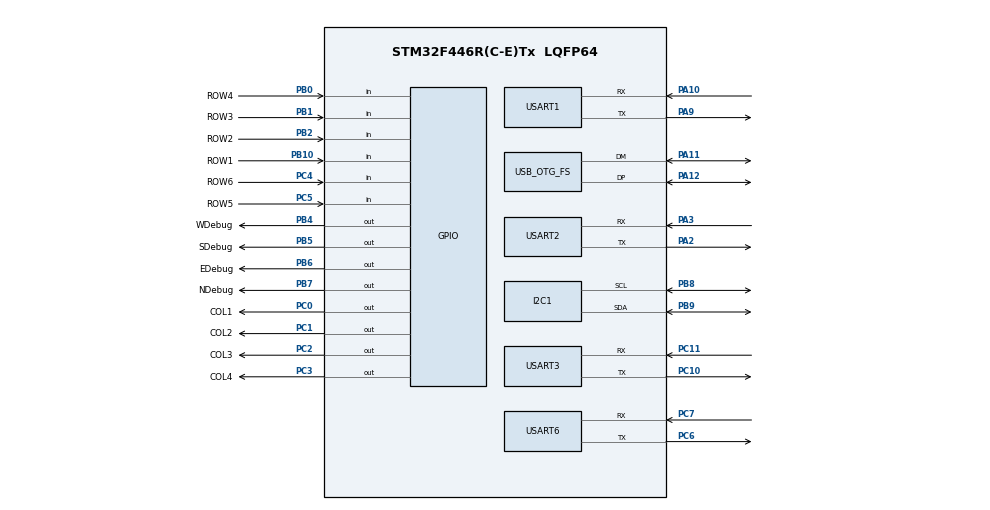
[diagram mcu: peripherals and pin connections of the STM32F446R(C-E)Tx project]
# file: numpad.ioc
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Dma.Request0=USART2_RX
Dma.Request1=USART1_RX
Dma.Request2=USART3_RX
Dma.Request3=USART1_TX
Dma.Request4=USART2_TX
Dma.Request5=USART3_TX
Dma.Request6=USART6_RX
Dma.Request7=USART6_TX
Dma.USART1_RX.1.Direction=DMA_PERIPH_TO_MEMORY
Dma.USART1_RX.1.FIFOMode=DMA_FIFOMODE_DISABLE
Dma.USART1_RX.1.Instance=DMA2_Stream2
Dma.USART1_RX.1.MemDataAlignment=DMA_MDATAALIGN_BYTE
Dma.USART1_RX.1.MemInc=DMA_MINC_ENABLE
Dma.USART1_RX.1.Mode=DMA_NORMAL
Dma.USART1_RX.1.PeriphDataAlignment=DMA_PDATAALIGN_BYTE
Dma.USART1_RX.1.PeriphInc=DMA_PINC_DISABLE
Dma.USART1_RX.1.Priority=DMA_PRIORITY_LOW
Dma.USART1_TX.3.Direction=DMA_MEMORY_TO_PERIPH
Dma.USART1_TX.3.FIFOMode=DMA_FIFOMODE_DISABLE
Dma.USART1_TX.3.Instance=DMA2_Stream7
Dma.USART1_TX.3.MemDataAlignment=DMA_MDATAALIGN_BYTE
Dma.USART1_TX.3.MemInc=DMA_MINC_ENABLE
Dma.USART1_TX.3.Mode=DMA_NORMAL
Dma.USART1_TX.3.PeriphDataAlignment=DMA_PDATAALIGN_BYTE
Dma.USART1_TX.3.PeriphInc=DMA_PINC_DISABLE
Dma.USART1_TX.3.Priority=DMA_PRIORITY_LOW
Dma.USART2_RX.0.Direction=DMA_PERIPH_TO_MEMORY
Dma.USART2_RX.0.FIFOMode=DMA_FIFOMODE_DISABLE
Dma.USART2_RX.0.Instance=DMA1_Stream5
Dma.USART2_RX.0.MemDataAlignment=DMA_MDATAALIGN_BYTE
Dma.USART2_RX.0.MemInc=DMA_MINC_ENABLE
Dma.USART2_RX.0.Mode=DMA_NORMAL
Dma.USART2_RX.0.PeriphDataAlignment=DMA_PDATAALIGN_BYTE
Dma.USART2_RX.0.PeriphInc=DMA_PINC_DISABLE
Dma.USART2_RX.0.Priority=DMA_PRIORITY_LOW
Dma.USART2_TX.4.Direction=DMA_MEMORY_TO_PERIPH
Dma.USART2_TX.4.FIFOMode=DMA_FIFOMODE_DISABLE
Dma.USART2_TX.4.Instance=DMA1_Stream6
Dma.USART2_TX.4.MemDataAlignment=DMA_MDATAALIGN_BYTE
Dma.USART2_TX.4.MemInc=DMA_MINC_ENABLE
Dma.USART2_TX.4.Mode=DMA_NORMAL
Dma.USART2_TX.4.PeriphDataAlignment=DMA_PDATAALIGN_BYTE
Dma.USART2_TX.4.PeriphInc=DMA_PINC_DISABLE
Dma.USART2_TX.4.Priority=DMA_PRIORITY_LOW
Dma.USART3_RX.2.Direction=DMA_PERIPH_TO_MEMORY
Dma.USART3_RX.2.FIFOMode=DMA_FIFOMODE_DISABLE
Dma.USART3_RX.2.Instance=DMA1_Stream1
Dma.USART3_RX.2.MemDataAlignment=DMA_MDATAALIGN_BYTE
Dma.USART3_RX.2.MemInc=DMA_MINC_ENABLE
Dma.USART3_RX.2.Mode=DMA_NORMAL
Dma.USART3_RX.2.PeriphDataAlignment=DMA_PDATAALIGN_BYTE
Dma.USART3_RX.2.PeriphInc=DMA_PINC_DISABLE
Dma.USART3_RX.2.Priority=DMA_PRIORITY_LOW
Dma.USART3_TX.5.Direction=DMA_MEMORY_TO_PERIPH
Dma.USART3_TX.5.FIFOMode=DMA_FIFOMODE_DISABLE
Dma.USART3_TX.5.Instance=DMA1_Stream3
Dma.USART3_TX.5.MemDataAlignment=DMA_MDATAALIGN_BYTE
Dma.USART3_TX.5.MemInc=DMA_MINC_ENABLE
Dma.USART3_TX.5.Mode=DMA_NORMAL
Dma.USART3_TX.5.PeriphDataAlignment=DMA_PDATAALIGN_BYTE
Dma.USART3_TX.5.PeriphInc=DMA_PINC_DISABLE
Dma.USART3_TX.5.Priority=DMA_PRIORITY_LOW
Dma.USART6_RX.6.Direction=DMA_PERIPH_TO_MEMORY
Dma.USART6_RX.6.FIFOMode=DMA_FIFOMODE_DISABLE
Dma.USART6_RX.6.Instance=DMA2_Stream1
Dma.USART6_RX.6.MemDataAlignment=DMA_MDATAALIGN_BYTE
Dma.USART6_RX.6.MemInc=DMA_MINC_ENABLE
Dma.USART6_RX.6.Mode=DMA_NORMAL
Dma.USART6_RX.6.PeriphDataAlignment=DMA_PDATAALIGN_BYTE
Dma.USART6_RX.6.PeriphInc=DMA_PINC_DISABLE
Dma.USART6_RX.6.Priority=DMA_PRIORITY_LOW
Dma.USART6_TX.7.Direction=DMA_MEMORY_TO_PERIPH
Dma.USART6_TX.7.FIFOMode=DMA_FIFOMODE_DISABLE
Dma.USART6_TX.7.Instance=DMA2_Stream6
Dma.USART6_TX.7.MemDataAlignment=DMA_MDATAALIGN_BYTE
Dma.USART6_TX.7.MemInc=DMA_MINC_ENABLE
Dma.USART6_TX.7.Mode=DMA_NORMAL
Dma.USART6_TX.7.PeriphDataAlignment=DMA_PDATAALIGN_BYTE
Dma.USART6_TX.7.PeriphInc=DMA_PINC_DISABLE
Dma.USART6_TX.7.Priority=DMA_PRIORITY_LOW
Mcu.Family=STM32F4
Mcu.Name=STM32F446R(C-E)Tx
Mcu.Package=LQFP64
NVIC.DMA1_Stream1_IRQn=true\:0\:0\:false\:false\:true\:false\:true\:true
NVIC.DMA1_Stream3_IRQn=true\:0\:0\:false\:false\:true\:false\:true\:true
NVIC.DMA1_Stream5_IRQn=true\:0\:0\:false\:false\:true\:false\:true\:true
NVIC.DMA1_Stream6_IRQn=true\:0\:0\:false\:false\:true\:false\:true\:true
NVIC.DMA2_Stream1_IRQn=true\:0\:0\:false\:false\:true\:false\:true\:true
NVIC.DMA2_Stream2_IRQn=true\:0\:0\:false\:false\:true\:false\:true\:true
NVIC.DMA2_Stream6_IRQn=true\:0\:0\:false\:false\:true\:false\:true\:true
NVIC.DMA2_Stream7_IRQn=true\:0\:0\:false\:false\:true\:false\:true\:true
NVIC.I2C1_EV_IRQn=true\:0\:0\:false\:false\:true\:true\:true\:true
NVIC.OTG_FS_IRQn=true\:0\:0\:false\:false\:true\:false\:true\:true
NVIC.PriorityGroup=NVIC_PRIORITYGROUP_4
NVIC.USART1_IRQn=true\:0\:0\:false\:false\:true\:true\:true\:true
NVIC.USART2_IRQn=true\:0\:0\:false\:false\:true\:true\:true\:true
NVIC.USART3_IRQn=true\:0\:0\:false\:false\:true\:true\:true\:true
NVIC.USART6_IRQn=true\:0\:0\:false\:false\:true\:true\:true\:true
PA10.Mode=Asynchronous
PA10.Signal=USART1_RX
PA11.Mode=Device_Only
PA11.Signal=USB_OTG_FS_DM
PA12.Mode=Device_Only
PA12.Signal=USB_OTG_FS_DP
PA13.Mode=Serial_Wire
PA13.Signal=SYS_JTMS-SWDIO
PA14.Mode=Serial_Wire
PA14.Signal=SYS_JTCK-SWCLK
PA2.Mode=Asynchronous
PA2.Signal=USART2_TX
PA3.Mode=Asynchronous
PA3.Signal=USART2_RX
PA9.Mode=Asynchronous
PA9.Signal=USART1_TX
PB0.GPIO_Label=ROW4
PB0.GPIO_PuPd=GPIO_PULLDOWN
PB0.Signal=GPIO_Input
PB1.GPIO_Label=ROW3
PB1.GPIO_PuPd=GPIO_PULLDOWN
PB1.Signal=GPIO_Input
PB10.GPIO_Label=ROW1
PB10.GPIO_PuPd=GPIO_PULLDOWN
PB10.Signal=GPIO_Input
PB2.GPIO_Label=ROW2
PB2.GPIO_PuPd=GPIO_PULLDOWN
PB2.Signal=GPIO_Input
PB4.GPIO_Label=WDebug
PB4.Signal=GPIO_Output
PB5.GPIO_Label=SDebug
PB5.Signal=GPIO_Output
PB6.GPIO_Label=EDebug
PB6.Signal=GPIO_Output
PB7.GPIO_Label=NDebug
PB7.Signal=GPIO_Output
PB8.Mode=I2C
PB8.Signal=I2C1_SCL
PB9.Mode=I2C
PB9.Signal=I2C1_SDA
PC0.GPIO_Label=COL1
PC0.Signal=GPIO_Output
PC1.GPIO_Label=COL2
PC1.Signal=GPIO_Output
PC10.Mode=Asynchronous
PC10.Signal=USART3_TX
PC11.Mode=Asynchronous
PC11.Signal=USART3_RX
PC2.GPIO_Label=COL3
PC2.Signal=GPIO_Output
PC3.GPIO_Label=COL4
PC3.Signal=GPIO_Output
PC4.GPIO_Label=ROW6
PC4.GPIO_PuPd=GPIO_PULLDOWN
PC4.Signal=GPIO_Input
PC5.GPIO_Label=ROW5
PC5.GPIO_PuPd=GPIO_PULLDOWN
PC5.Signal=GPIO_Input
PC6.Mode=Asynchronous
PC6.Signal=USART6_TX
PC7.Mode=Asynchronous
PC7.Signal=USART6_RX
PH0-OSC_IN.Mode=HSE-External-Oscillator
PH0-OSC_IN.Signal=RCC_OSC_IN
PH1-OSC_OUT.Mode=HSE-External-Oscillator
PH1-OSC_OUT.Signal=RCC_OSC_OUT
ProjectManager.HeapSize=0x200
ProjectManager.StackSize=0x400
ProjectManager.TargetToolchain=STM32CubeIDE
RCC.CortexFreq_Value=16000000
RCC.HSE_VALUE=8000000
RCC.PLLM=4
RCC.PLLN=72
RCC.PLLQ=3
RCC.USBFreq_Value=48000000
RCC.VCOOutputFreq_Value=144000000
USART1.VirtualMode=VM_ASYNC
USART2.VirtualMode=VM_ASYNC
USART3.VirtualMode=VM_ASYNC
USART6.VirtualMode=VM_ASYNC
USB_DEVICE.CLASS_NAME_FS=HID
USB_DEVICE.VirtualMode-HID_FS=Hid
USB_DEVICE.VirtualModeFS=Hid_FS
USB_OTG_FS.VirtualMode=Device_Only
VP_USB_DEVICE_VS_USB_DEVICE_HID_FS.Mode=HID_FS
board=custom

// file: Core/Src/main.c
/* USER CODE BEGIN Header */
/**
  ******************************************************************************
  * @file           : main.c
  * @brief          : Main program body
  ******************************************************************************
  * @attention
  *
  * Copyright (c) 2025 STMicroelectronics.
  * All rights reserved.
  *
  * This software is licensed under terms that can be found in the LICENSE file
  * in the root directory of this software component.
  * If no LICENSE file comes with this software, it is provided AS-IS.
  *
  ******************************************************************************
  */
/* USER CODE END Header */
#include "main.h"
#include "usb_device.h"
#include <stdbool.h>
#include <stdint.h>

/* USER CODE BEGIN PD */
#define INACTIVE 	0x00
#define ACTIVE 		0x01
#define MASTER 		0x02
uint8_t MODE = INACTIVE;

#define PACKET_SIZE 4
#define DMA_QBUFFER_SIZE 64

static uint8_t DMA_QBUFFER[DMA_QBUFFER_SIZE][PACKET_SIZE];
volatile uint16_t q_head = 0;
volatile uint16_t q_tail = 0;

UART_HandleTypeDef PARENT;          // your parent UART
static bool PARENT_BUSY = false;
/* USER CODE END PD */

I2C_HandleTypeDef hi2c1;

UART_HandleTypeDef huart1;
UART_HandleTypeDef huart2;
UART_HandleTypeDef huart3;
UART_HandleTypeDef huart6;
DMA_HandleTypeDef hdma_usart1_rx;
DMA_HandleTypeDef hdma_usart1_tx;
DMA_HandleTypeDef hdma_usart2_rx;
DMA_HandleTypeDef hdma_usart2_tx;
DMA_HandleTypeDef hdma_usart3_rx;
DMA_HandleTypeDef hdma_usart3_tx;
DMA_HandleTypeDef hdma_usart6_rx;
DMA_HandleTypeDef hdma_usart6_tx;

void SystemClock_Config(void);
static void MX_GPIO_Init(void);
static void MX_DMA_Init(void);
static void MX_I2C1_Init(void);
static void MX_USART1_UART_Init(void);
static void MX_USART2_UART_Init(void);
static void MX_USART3_UART_Init(void);
static void MX_USART6_UART_Init(void);

//UART Forwarder Functions
bool DMA_BufferPush(uint8_t *packet);
bool DMA_BufferPop(uint8_t *packet);
void DMA_TrySend(void);

int main(void)
{

  /* MCU Configuration--------------------------------------------------------*/

  /* Reset of all peripherals, Initializes the Flash interface and the Systick. */
  HAL_Init();

  /* Configure the system clock */
  SystemClock_Config();

  /* Initialize all configured peripherals */
  MX_GPIO_Init();
  MX_DMA_Init();
  MX_I2C1_Init();
  MX_USART1_UART_Init();
  MX_USART2_UART_Init();
  MX_USB_DEVICE_Init();
  MX_USART3_UART_Init();
  MX_USART6_UART_Init();

  /* Infinite loop */
  while (1)
  {

  }
}

void SystemClock_Config(void)
{
  RCC_OscInitTypeDef RCC_OscInitStruct = {0};
  RCC_ClkInitTypeDef RCC_ClkInitStruct = {0};

  /** Configure the main internal regulator output voltage
  */
  __HAL_RCC_PWR_CLK_ENABLE();
  __HAL_PWR_VOLTAGESCALING_CONFIG(PWR_REGULATOR_VOLTAGE_SCALE3);

  /** Initializes the RCC Oscillators according to the specified parameters
  * in the RCC_OscInitTypeDef structure.
  */
  RCC_OscInitStruct.OscillatorType = RCC_OSCILLATORTYPE_HSI;
  RCC_OscInitStruct.HSIState = RCC_HSI_ON;
  RCC_OscInitStruct.HSICalibrationValue = RCC_HSICALIBRATION_DEFAULT;
  RCC_OscInitStruct.PLL.PLLState = RCC_PLL_ON;
  RCC_OscInitStruct.PLL.PLLSource = RCC_PLLSOURCE_HSE;
  RCC_OscInitStruct.PLL.PLLM = 4;
  RCC_OscInitStruct.PLL.PLLN = 72;
  RCC_OscInitStruct.PLL.PLLP = RCC_PLLP_DIV2;
  RCC_OscInitStruct.PLL.PLLQ = 3;
  RCC_OscInitStruct.PLL.PLLR = 2;
  if (HAL_RCC_OscConfig(&RCC_OscInitStruct) != HAL_OK)
  {
    Error_Handler();
  }

  /** Initializes the CPU, AHB and APB buses clocks
  */
  RCC_ClkInitStruct.ClockType = RCC_CLOCKTYPE_HCLK|RCC_CLOCKTYPE_SYSCLK
                              |RCC_CLOCKTYPE_PCLK1|RCC_CLOCKTYPE_PCLK2;
  RCC_ClkInitStruct.SYSCLKSource = RCC_SYSCLKSOURCE_HSI;
  RCC_ClkInitStruct.AHBCLKDivider = RCC_SYSCLK_DIV1;
  RCC_ClkInitStruct.APB1CLKDivider = RCC_HCLK_DIV1;
  RCC_ClkInitStruct.APB2CLKDivider = RCC_HCLK_DIV1;

  if (HAL_RCC_ClockConfig(&RCC_ClkInitStruct, FLASH_LATENCY_0) != HAL_OK)
  {
    Error_Handler();
  }
}

static void MX_I2C1_Init(void)
{

  hi2c1.Instance = I2C1;
  hi2c1.Init.ClockSpeed = 100000;
  hi2c1.Init.DutyCycle = I2C_DUTYCYCLE_2;
  hi2c1.Init.OwnAddress1 = 0;
  hi2c1.Init.AddressingMode = I2C_ADDRESSINGMODE_7BIT;
  hi2c1.Init.DualAddressMode = I2C_DUALADDRESS_DISABLE;
  hi2c1.Init.OwnAddress2 = 0;
  hi2c1.Init.GeneralCallMode = I2C_GENERALCALL_DISABLE;
  hi2c1.Init.NoStretchMode = I2C_NOSTRETCH_DISABLE;
  if (HAL_I2C_Init(&hi2c1) != HAL_OK)
  {
    Error_Handler();
  }

}

static void MX_USART1_UART_Init(void)
{

  huart1.Instance = USART1;
  huart1.Init.BaudRate = 115200;
  huart1.Init.WordLength = UART_WORDLENGTH_8B;
  huart1.Init.StopBits = UART_STOPBITS_1;
  huart1.Init.Parity = UART_PARITY_NONE;
  huart1.Init.Mode = UART_MODE_TX_RX;
  huart1.Init.HwFlowCtl = UART_HWCONTROL_NONE;
  huart1.Init.OverSampling = UART_OVERSAMPLING_16;
  if (HAL_UART_Init(&huart1) != HAL_OK)
  {
    Error_Handler();
  }

}

static void MX_USART2_UART_Init(void)
{

  huart2.Instance = USART2;
  huart2.Init.BaudRate = 115200;
  huart2.Init.WordLength = UART_WORDLENGTH_8B;
  huart2.Init.StopBits = UART_STOPBITS_1;
  huart2.Init.Parity = UART_PARITY_NONE;
  huart2.Init.Mode = UART_MODE_TX_RX;
  huart2.Init.HwFlowCtl = UART_HWCONTROL_NONE;
  huart2.Init.OverSampling = UART_OVERSAMPLING_16;
  if (HAL_UART_Init(&huart2) != HAL_OK)
  {
    Error_Handler();
  }

}

static void MX_USART3_UART_Init(void)
{

  huart3.Instance = USART3;
  huart3.Init.BaudRate = 115200;
  huart3.Init.WordLength = UART_WORDLENGTH_8B;
  huart3.Init.StopBits = UART_STOPBITS_1;
  huart3.Init.Parity = UART_PARITY_NONE;
  huart3.Init.Mode = UART_MODE_TX_RX;
  huart3.Init.HwFlowCtl = UART_HWCONTROL_NONE;
  huart3.Init.OverSampling = UART_OVERSAMPLING_16;
  if (HAL_UART_Init(&huart3) != HAL_OK)
  {
    Error_Handler();
  }

}

static void MX_USART6_UART_Init(void)
{

  huart6.Instance = USART6;
  huart6.Init.BaudRate = 115200;
  huart6.Init.WordLength = UART_WORDLENGTH_8B;
  huart6.Init.StopBits = UART_STOPBITS_1;
  huart6.Init.Parity = UART_PARITY_NONE;
  huart6.Init.Mode = UART_MODE_TX_RX;
  huart6.Init.HwFlowCtl = UART_HWCONTROL_NONE;
  huart6.Init.OverSampling = UART_OVERSAMPLING_16;
  if (HAL_UART_Init(&huart6) != HAL_OK)
  {
    Error_Handler();
  }

}

static void MX_DMA_Init(void)
{

  /* DMA controller clock enable */
  __HAL_RCC_DMA1_CLK_ENABLE();
  __HAL_RCC_DMA2_CLK_ENABLE();

  /* DMA interrupt init */
  /* DMA1_Stream1_IRQn interrupt configuration */
  HAL_NVIC_SetPriority(DMA1_Stream1_IRQn, 0, 0);
  HAL_NVIC_EnableIRQ(DMA1_Stream1_IRQn);
  /* DMA1_Stream3_IRQn interrupt configuration */
  HAL_NVIC_SetPriority(DMA1_Stream3_IRQn, 0, 0);
  HAL_NVIC_EnableIRQ(DMA1_Stream3_IRQn);
  /* DMA1_Stream5_IRQn interrupt configuration */
  HAL_NVIC_SetPriority(DMA1_Stream5_IRQn, 0, 0);
  HAL_NVIC_EnableIRQ(DMA1_Stream5_IRQn);
  /* DMA1_Stream6_IRQn interrupt configuration */
  HAL_NVIC_SetPriority(DMA1_Stream6_IRQn, 0, 0);
  HAL_NVIC_EnableIRQ(DMA1_Stream6_IRQn);
  /* DMA2_Stream1_IRQn interrupt configuration */
  HAL_NVIC_SetPriority(DMA2_Stream1_IRQn, 0, 0);
  HAL_NVIC_EnableIRQ(DMA2_Stream1_IRQn);
  /* DMA2_Stream2_IRQn interrupt configuration */
  HAL_NVIC_SetPriority(DMA2_Stream2_IRQn, 0, 0);
  HAL_NVIC_EnableIRQ(DMA2_Stream2_IRQn);
  /* DMA2_Stream6_IRQn interrupt configuration */
  HAL_NVIC_SetPriority(DMA2_Stream6_IRQn, 0, 0);
  HAL_NVIC_EnableIRQ(DMA2_Stream6_IRQn);
  /* DMA2_Stream7_IRQn interrupt configuration */
  HAL_NVIC_SetPriority(DMA2_Stream7_IRQn, 0, 0);
  HAL_NVIC_EnableIRQ(DMA2_Stream7_IRQn);

}

static void MX_GPIO_Init(void)
{
  GPIO_InitTypeDef GPIO_InitStruct = {0};

  /* GPIO Ports Clock Enable */
  __HAL_RCC_GPIOH_CLK_ENABLE();
  __HAL_RCC_GPIOC_CLK_ENABLE();
  __HAL_RCC_GPIOA_CLK_ENABLE();
  __HAL_RCC_GPIOB_CLK_ENABLE();

  /*Configure GPIO pin Output Level */
  HAL_GPIO_WritePin(GPIOC, COL1_Pin|COL2_Pin|COL3_Pin|COL4_Pin, GPIO_PIN_RESET);

  /*Configure GPIO pin Output Level */
  HAL_GPIO_WritePin(GPIOB, WDebug_Pin|SDebug_Pin|EDebug_Pin|NDebug_Pin, GPIO_PIN_RESET);

  /*Configure GPIO pins : COL1_Pin COL2_Pin COL3_Pin COL4_Pin */
  GPIO_InitStruct.Pin = COL1_Pin|COL2_Pin|COL3_Pin|COL4_Pin;
  GPIO_InitStruct.Mode = GPIO_MODE_OUTPUT_PP;
  GPIO_InitStruct.Pull = GPIO_NOPULL;
  GPIO_InitStruct.Speed = GPIO_SPEED_FREQ_LOW;
  HAL_GPIO_Init(GPIOC, &GPIO_InitStruct);

  /*Configure GPIO pins : ROW6_Pin ROW5_Pin */
  GPIO_InitStruct.Pin = ROW6_Pin|ROW5_Pin;
  GPIO_InitStruct.Mode = GPIO_MODE_INPUT;
  GPIO_InitStruct.Pull = GPIO_PULLDOWN;
  HAL_GPIO_Init(GPIOC, &GPIO_InitStruct);

  /*Configure GPIO pins : ROW4_Pin ROW3_Pin ROW2_Pin ROW1_Pin */
  GPIO_InitStruct.Pin = ROW4_Pin|ROW3_Pin|ROW2_Pin|ROW1_Pin;
  GPIO_InitStruct.Mode = GPIO_MODE_INPUT;
  GPIO_InitStruct.Pull = GPIO_PULLDOWN;
  HAL_GPIO_Init(GPIOB, &GPIO_InitStruct);

  /*Configure GPIO pins : WDebug_Pin SDebug_Pin EDebug_Pin NDebug_Pin */
  GPIO_InitStruct.Pin = WDebug_Pin|SDebug_Pin|EDebug_Pin|NDebug_Pin;
  GPIO_InitStruct.Mode = GPIO_MODE_OUTPUT_PP;
  GPIO_InitStruct.Pull = GPIO_NOPULL;
  GPIO_InitStruct.Speed = GPIO_SPEED_FREQ_LOW;
  HAL_GPIO_Init(GPIOB, &GPIO_InitStruct);

}

/* USER CODE BEGIN 4 */
/**
  * @brief Send the following data to the arent
  * @param data = the data to be sent
  * @retval None
  */
//UART Forwarder Functions
bool DMA_BufferPush(uint8_t *packet){
    uint16_t next = (q_head + 1) % DMA_QBUFFER_SIZE;
    if (next == q_tail) return false; // full
    memcpy(DMA_QBUFFER[q_head], packet, PACKET_SIZE);
    q_head = next;
    return true;
}

bool DMA_BufferPop(uint8_t *packet) {
    if (q_head == q_tail) return false; // empty
    memcpy(packet, DMA_QBUFFER[q_tail], PACKET_SIZE);
    q_tail = (q_tail + 1) % DMA_QBUFFER_SIZE;
    return true;
}

void DMA_TrySend(void){
    uint8_t pkt[PACKET_SIZE];
    if (!PARENT_BUSY && DMA_BufferPop(pkt)) {
        PARENT_BUSY = true;
        HAL_UART_Transmit_DMA(&PARENT, pkt, PACKET_SIZE);
    }
}
/* USER CODE END 4 */

void Error_Handler(void)
{
  __disable_irq();
  while (1)
  {
  }
}
